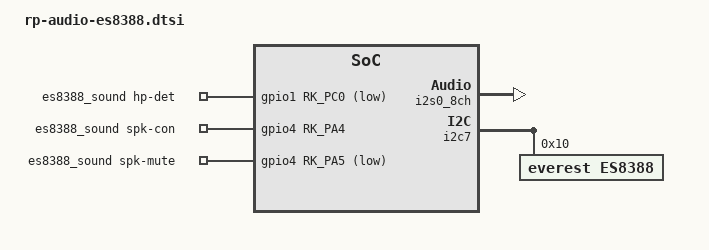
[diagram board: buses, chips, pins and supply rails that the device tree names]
/{
    es8388_sound: es8388-sound {
        status = "okay";
        compatible = "rockchip,multicodecs-card";
        rockchip,card-name = "rockchip-es8388";
        hp-det-gpio = <&gpio1 RK_PC0 GPIO_ACTIVE_LOW>;
        spk-con-gpio = <&gpio4 RK_PA4 GPIO_ACTIVE_HIGH>;
        spk-mute-gpio = <&gpio4 RK_PA5 GPIO_ACTIVE_LOW>;
        // hp-con-gpio = <&gpio3 RK_PD6 GPIO_ACTIVE_HIGH>;
        rockchip,format = "i2s";
        rockchip,mclk-fs = <256>;
        rockchip,cpu = <&i2s0_8ch>;
        rockchip,codec = <&es8388>;
        rockchip,audio-routing =
            "Headphone", "LOUT1",
            "Headphone", "ROUT1",
            "Speaker", "LOUT2",
            "Speaker", "ROUT2",
            "Headphone", "Headphone Power",
            "Headphone", "Headphone Power",
            "Speaker", "Speaker Power",
            "Speaker", "Speaker Power",
            "LINPUT1", "Main Mic",
            "RINPUT1", "Main Mic";
        pinctrl-names = "default";
        pinctrl-0 = <&hp_det>;
        play-pause-key {
            label = "playpause";
            linux,code = <KEY_PLAYPAUSE>;
            press-threshold-microvolt = <2000>;
        };
    };
};


&i2s0_8ch {
    status = "okay";
    rockchip,path-map = <0 1 2 3>;
    pinctrl-names = "default";
    pinctrl-0 = <&i2s0_lrck
             &i2s0_sclk
             &i2s0_sdi0
             &i2s0_sdo0>;

};

&i2c7 {
    status = "okay";
    pinctrl-names = "default";
    pinctrl-0 = <&i2c7m0_xfer>;
        es8388: es8388@10 {
        status = "okay";
        #sound-dai-cells = <0>;
        compatible = "everest,es8388", "everest,es8323";
        reg = <0x10>;
        clocks = <&mclkout_i2s0>;
        clock-names = "mclk";
        assigned-clocks = <&mclkout_i2s0>;
        assigned-clock-rates = <12288000>;
        pinctrl-names = "default";
        pinctrl-0 = <&i2s0_mclk>;
    };
    
};

&pinctrl {
    headphone {
        hp_det: hp-det {
            rockchip,pins = <1 RK_PC0 RK_FUNC_GPIO &pcfg_pull_up>;
        };
    };
};

